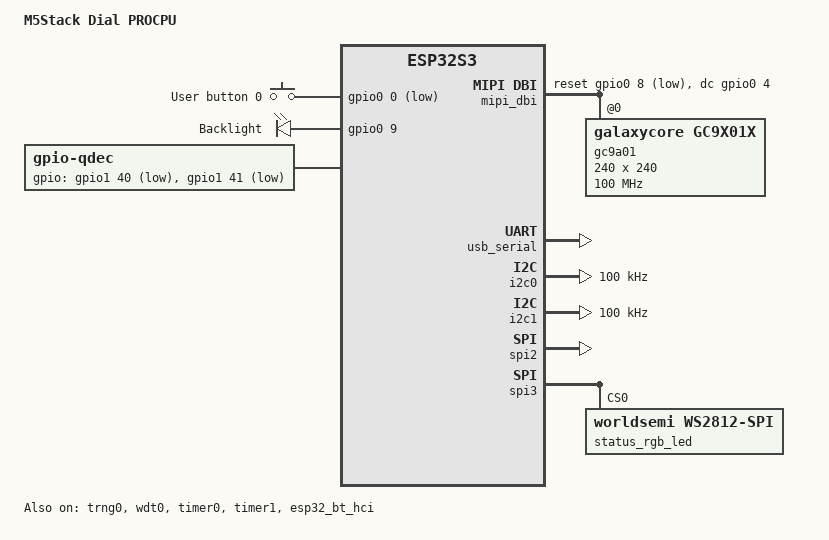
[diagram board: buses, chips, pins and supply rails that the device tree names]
/*
 * Copyright (c) 2023 Martin Kiepfer <mrmarteng@teleschirm.org>
 *
 * SPDX-License-Identifier: Apache-2.0
 */
/dts-v1/;

#include <espressif/esp32s3/esp32s3_fn8.dtsi>
#include "m5stack_dial-pinctrl.dtsi"
#include <zephyr/dt-bindings/pwm/pwm.h>
#include <zephyr/dt-bindings/display/panel.h>
#include <dt-bindings/led/led.h>
#include <dt-bindings/led/worldsemi_ws2812c.h>
#include <zephyr/dt-bindings/input/input-event-codes.h>
#include <espressif/partitions_0x0_amp.dtsi>

/ {
	model = "M5Stack Dial PROCPU";
	compatible = "m5stack,dial";

	chosen {
		zephyr,sram = &sram1;
		zephyr,console = &usb_serial;
		zephyr,shell-uart = &usb_serial;
		zephyr,flash = &flash0;
		zephyr,code-partition = &slot0_partition;
		zephyr,bt-hci = &esp32_bt_hci;
		zephyr,display= &gc9a01;
	};

	aliases {
		sw0 = &user_button_0;
		watchdog0 = &wdt0;
		//pwm-0 = &ledc0;
		i2c-0 = &i2c0;
		led-strip = &status_rgb_led;
		backlight = &backlight;
	};

	gpio_keys {
		compatible = "gpio-keys";

		/* This is the button that's underneath the LCD display  */
		user_button_0: button_0 {
			label = "User button 0";
			gpios = <&gpio0 0 GPIO_ACTIVE_LOW>;
			zephyr,code = <INPUT_KEY_0>;
		};
	};


	leds {
		compatible = "gpio-leds";
		backlight: led_0 {
			gpios = <&gpio0 9 GPIO_ACTIVE_HIGH>;
			label = "Backlight";
		};
	};

	/* MIPI DBI */
	mipi_dbi {
		compatible = "zephyr,mipi-dbi-spi";
		spi-dev = <&spi2>;
		dc-gpios = <&gpio0 4 GPIO_ACTIVE_HIGH>;
		reset-gpios = <&gpio0 8 GPIO_ACTIVE_LOW>;
		write-only;
		#address-cells = <1>;
		#size-cells = <0>;

		gc9a01: gc9a01@0 {
			status = "okay";
			compatible = "galaxycore,gc9x01x";
			reg = <0>;
			mipi-max-frequency = <100000000>;
			pixel-format = <PANEL_PIXEL_FORMAT_RGB_888>;
			display-inversion;
			width = <240>;
			height = <240>;
		};
	};


	qdec {
		compatible = "gpio-qdec";
		status = "okay";
		gpios = <&gpio1 40 GPIO_ACTIVE_LOW>, <&gpio1 41 GPIO_ACTIVE_LOW>;
		steps-per-period = <4>;
		zephyr,axis = <INPUT_REL_WHEEL>;
		sample-time-us = <2000>;
		idle-timeout-ms = <200>;
	};
};

&usb_serial {
	status = "okay";
};

&i2c0 {
	status = "okay";
	clock-frequency = <I2C_BITRATE_STANDARD>;
	pinctrl-0 = <&i2c0_default>;
	pinctrl-names = "default";
};

&i2c1 {
	status = "okay";
	clock-frequency = <I2C_BITRATE_STANDARD>;
	pinctrl-0 = <&i2c1_default>;
	pinctrl-names = "default";
};

&trng0 {
	status = "okay";
};

&mcpwm0 {
	status = "disabled";
	pinctrl-0 = <&mcpwm0_default>;
	pinctrl-names = "default";
	prescale = <255>;
	prescale-timer0 = <100>;
	prescale-timer1 = <100>;
};

&ledc0 {
	pinctrl-0 = <&ledc0_default>;
	pinctrl-names = "default";
	status = "disabled";
	#address-cells = <1>;
	#size-cells = <0>;
	channel0@0 {
		reg = <0x0>;
		timer = <0>;
	};
	channel0@1 {
		reg = <0x1>;
		timer = <0>;
	};
};


&spi2 {
	#address-cells = <1>;
	#size-cells = <0>;
	status = "okay";
	pinctrl-0 = <&spim2_default>;
	pinctrl-names = "default";
};

&spi3 {
	#address-cells = <1>;
	#size-cells = <0>;
	status = "okay";
	line-idle-low;
	pinctrl-0 = <&spim3_default>;
	pinctrl-names = "default";

	status_rgb_led: ws2812@0 {
		compatible = "worldsemi,ws2812-spi";
		reg = <0x0>;
		spi-max-frequency = <WS2812C_SPI_FREQ>;

		chain-length = <1>;
		color-mapping =	<LED_COLOR_ID_GREEN>,
			<LED_COLOR_ID_RED>,
			<LED_COLOR_ID_BLUE>;
		spi-one-frame = <WS2812C_ONE_FRAME>;
		spi-zero-frame = <WS2812C_ZERO_FRAME>;
		reset-delay = <250>;
	};
};

&gpio0 {
	status = "okay";
};

&gpio1 {
	status = "okay";
};

&wdt0 {
	status = "okay";
};

&timer0 {
	status = "okay";
};

&timer1 {
	status = "okay";
};

&esp32_bt_hci {
	status = "okay";
};
